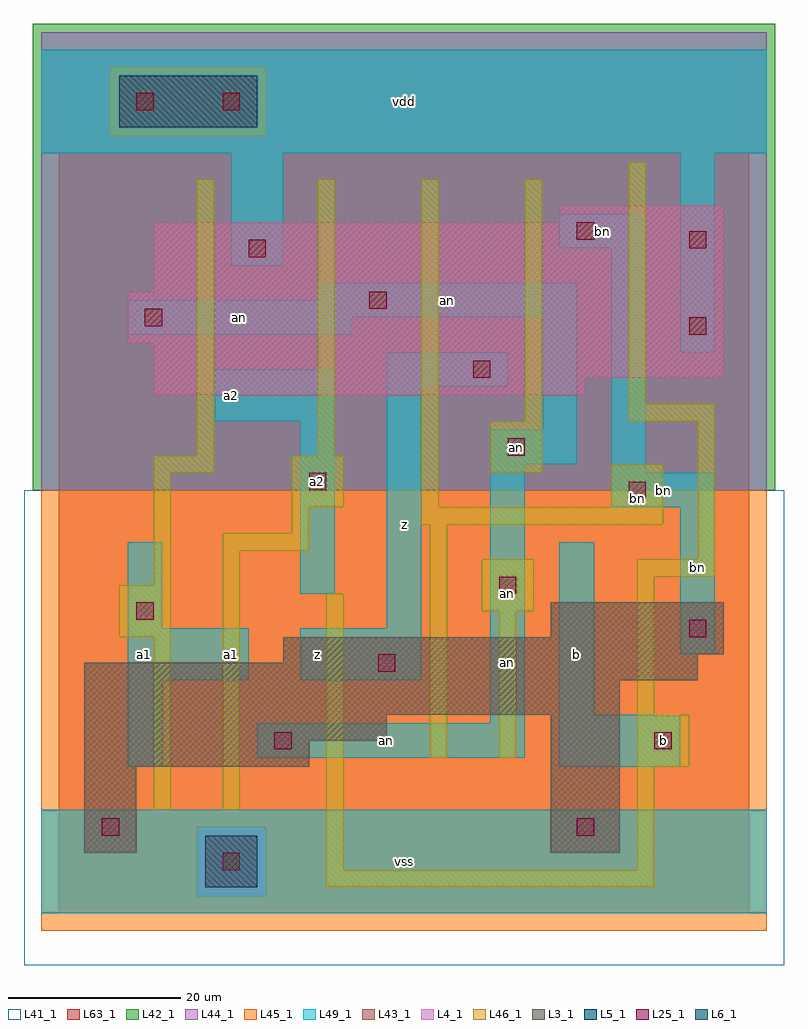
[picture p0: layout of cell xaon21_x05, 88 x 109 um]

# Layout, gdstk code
import gdstk
lib = gdstk.Library(unit=1e-6, precision=1e-09)
def R(c, l, rs):  # rectangles x0, y0, x1, y1
    for r in rs: c.add(gdstk.rectangle(r[:2], r[2:], *l))
L3_1 = (3, 1)
L4_1 = (4, 1)
L5_1 = (5, 1)
L6_1 = (6, 1)
L25_1 = (25, 1)
L41_1 = (41, 1)
L42_1 = (42, 1)
L43_1 = (43, 1)
L44_1 = (44, 1)
L45_1 = (45, 1)
L46_1 = (46, 1)
L49_1 = (49, 1)
L63_1 = (63, 1)

xaon21_x05 = lib.new_cell('xaon21_x05')
R(xaon21_x05, L3_1, [(3,7,9,17), (57,7,65,23), (3,17,29,20), (3,20,38,23), (3,23,65,27), (3,27,74,29), (26,29,74,30), (26,30,77,32), (57,32,77,36)])
R(xaon21_x05, L4_1, [(11,60,61,62), (11,62,77,66), (8,66,77,72), (11,72,77,80), (58,80,77,82)])
R(xaon21_x05, L5_1, [(7,91,23,97)])
R(xaon21_x05, L6_1, [(17,3,23,9)])
R(xaon21_x05, L25_1, [(19,5,21,7), (5,9,7,11), (60,9,62,11), (25,19,27,21), (69,19,71,21), (37,28,39,30), (73,32,75,34), (9,34,11,36), (51,37,53,39), (66,48,68,50), (29,49,31,51), (52,53,54,55), (48,62,50,64), (73,67,75,69), (10,68,12,70), (36,70,38,72), (22,76,24,78), (73,77,75,79), (60,78,62,80), (9,93,11,95), (19,93,21,95)])
R(xaon21_x05, L41_1, [(-4,-6,84,49), (-3,-3,83,49)])
R(xaon21_x05, L42_1, [(-3,49,83,103)])
R(xaon21_x05, L43_1, [(17,3,23,9), (3,7,9,17), (57,7,65,23), (3,17,29,20), (3,20,38,23), (3,23,65,27), (3,27,74,29), (26,29,74,30), (26,30,77,32), (57,32,77,36), (11,60,61,62), (11,62,77,66), (8,66,77,72), (11,72,77,80), (58,80,77,82), (7,91,23,97)])
R(xaon21_x05, L44_1, [(16,2,24,10), (-2,49,82,90), (-2,90,6,98), (24,90,82,98), (-2,98,82,102)])
R(xaon21_x05, L45_1, [(-2,-2,82,2), (-2,2,16,10), (24,2,82,10), (-2,10,82,49), (6,90,24,98)])
R(xaon21_x05, L46_1, [(31,3,69,5), (31,5,33,37), (67,5,69,17), (11,12,13,32), (19,12,21,42), (67,17,73,23), (43,18,45,45), (51,18,53,35), (67,23,69,39), (7,32,13,38), (49,35,55,41), (11,38,13,51), (67,39,76,41), (74,41,76,57), (19,42,29,44), (27,44,29,47), (42,45,70,47), (27,47,33,53), (42,47,44,85), (64,47,70,52), (11,51,18,53), (50,51,56,57), (16,53,18,85), (30,53,32,85), (54,57,56,85), (66,57,76,59), (66,59,68,87)])
R(xaon21_x05, L49_1, [(-2,0,82,12), (8,17,12,27), (58,17,72,23), (23,18,54,22), (50,22,54,52), (58,23,62,43), (8,27,22,33), (28,27,42,33), (72,30,76,47), (8,33,12,43), (38,33,42,61), (28,37,32,57), (64,47,76,51), (64,51,68,77), (50,52,60,56), (56,56,60,69), (18,57,32,63), (38,61,52,65), (72,65,76,88), (8,67,34,69), (8,69,60,71), (30,71,60,73), (20,75,26,88), (58,77,68,81), (-2,88,82,100)])
R(xaon21_x05, L63_1, [(0,0,80,100)])
xaon21_x05.add(gdstk.Label('an', (52,29), layer=46, texttype=1))
xaon21_x05.add(gdstk.Label('an', (53,54), layer=49, texttype=1))
xaon21_x05.add(gdstk.Label('bn', (67,48), layer=49, texttype=1))
xaon21_x05.add(gdstk.Label('a1', (10,30), layer=49, texttype=1))
xaon21_x05.add(gdstk.Label('a1', (10,30), layer=49, texttype=1))
xaon21_x05.add(gdstk.Label('a1', (20,30), layer=49, texttype=1))
xaon21_x05.add(gdstk.Label('a1', (20,30), layer=49, texttype=1))
xaon21_x05.add(gdstk.Label('a2', (20,60), layer=49, texttype=1))
xaon21_x05.add(gdstk.Label('a2', (20,60), layer=49, texttype=1))
xaon21_x05.add(gdstk.Label('vss', (40,6), layer=49, texttype=1))
xaon21_x05.add(gdstk.Label('vss', (40,6), layer=49, texttype=1))
xaon21_x05.add(gdstk.Label('z', (30,30), layer=49, texttype=1))
xaon21_x05.add(gdstk.Label('z', (30,30), layer=49, texttype=1))
xaon21_x05.add(gdstk.Label('a2', (30,50), layer=49, texttype=1))
xaon21_x05.add(gdstk.Label('a2', (30,50), layer=49, texttype=1))
xaon21_x05.add(gdstk.Label('z', (40,45), layer=49, texttype=1))
xaon21_x05.add(gdstk.Label('z', (40,45), layer=49, texttype=1))
xaon21_x05.add(gdstk.Label('an', (21,69), layer=49, texttype=1))
xaon21_x05.add(gdstk.Label('vdd', (40,94), layer=49, texttype=1))
xaon21_x05.add(gdstk.Label('vdd', (40,94), layer=49, texttype=1))
xaon21_x05.add(gdstk.Label('an', (38,20), layer=49, texttype=1))
xaon21_x05.add(gdstk.Label('b', (60,30), layer=49, texttype=1))
xaon21_x05.add(gdstk.Label('b', (60,30), layer=49, texttype=1))
xaon21_x05.add(gdstk.Label('an', (52,37), layer=49, texttype=1))
xaon21_x05.add(gdstk.Label('an', (45,71), layer=49, texttype=1))
xaon21_x05.add(gdstk.Label('b', (70,20), layer=49, texttype=1))
xaon21_x05.add(gdstk.Label('b', (70,20), layer=49, texttype=1))
xaon21_x05.add(gdstk.Label('bn', (74,40), layer=49, texttype=1))
xaon21_x05.add(gdstk.Label('bn', (70,49), layer=49, texttype=1))
xaon21_x05.add(gdstk.Label('bn', (63,79), layer=49, texttype=1))

lib.write_gds('xaon21_x05.gds')
